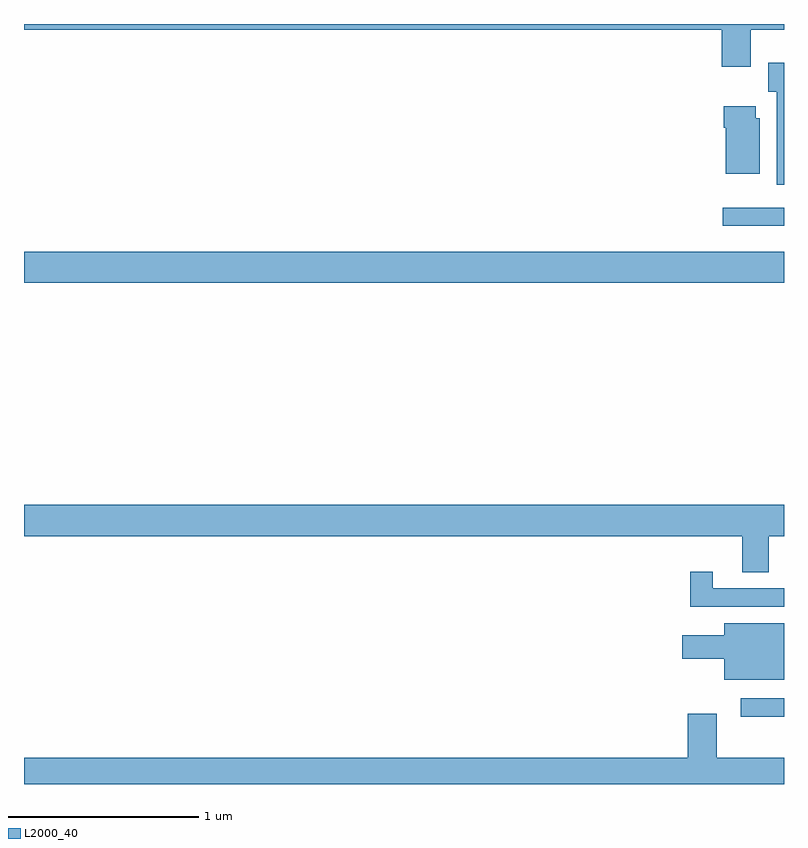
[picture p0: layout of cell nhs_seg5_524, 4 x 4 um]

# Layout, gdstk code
import gdstk
lib = gdstk.Library(unit=1e-6, precision=1e-09)
def R(c, l, rs):  # rectangles x0, y0, x1, y1
    for r in rs: c.add(gdstk.rectangle(r[:2], r[2:], *l))
def P(c, l, *ps):  # polygons
    for p in ps: c.add(gdstk.Polygon(p, *l))
L2000_40 = (2000, 40)

nhs_seg5_524 = lib.new_cell('nhs_seg5_524')
R(nhs_seg5_524, L2000_40, [(148.773,845.154,149,845.25), (145,847.436,149,847.6), (148.677,847.736,149,847.833)])
P(nhs_seg5_524, L2000_40, [(148.825,848.768),(149,848.768),(149,848.799),(145,848.799),(145,848.768),(148.673,848.768),(148.673,848.574),(148.825,848.574)],
  [(149,848.596),(148.916,848.596),(148.916,848.442),(148.961,848.442),(148.961,847.953),(149,847.953)],
  [(148.873,848.304),(148.852,848.304),(148.852,848.365),(148.682,848.365),(148.682,848.252),(148.694,848.252),(148.694,848.012),(148.873,848.012)],
  [(148.921,846.104),(149,846.104),(149,846.268),(145,846.268),(145,846.104),(148.781,846.104),(148.781,845.914),(148.921,845.914)],
  [(149,845.829),(148.624,845.829),(148.624,845.917),(148.507,845.917),(148.507,845.733),(149,845.733)],
  [(149,845.644),(148.685,845.644),(148.685,845.581),(148.464,845.581),(148.464,845.459),(148.685,845.459),(148.685,845.348),(149,845.348)],
  [(149,844.936),(148.645,844.936),(148.645,845.17),(148.493,845.17),(148.493,844.936),(145,844.936),(145,844.799),(149,844.799)])

lib.write_gds('nhs_seg5_524.gds')
